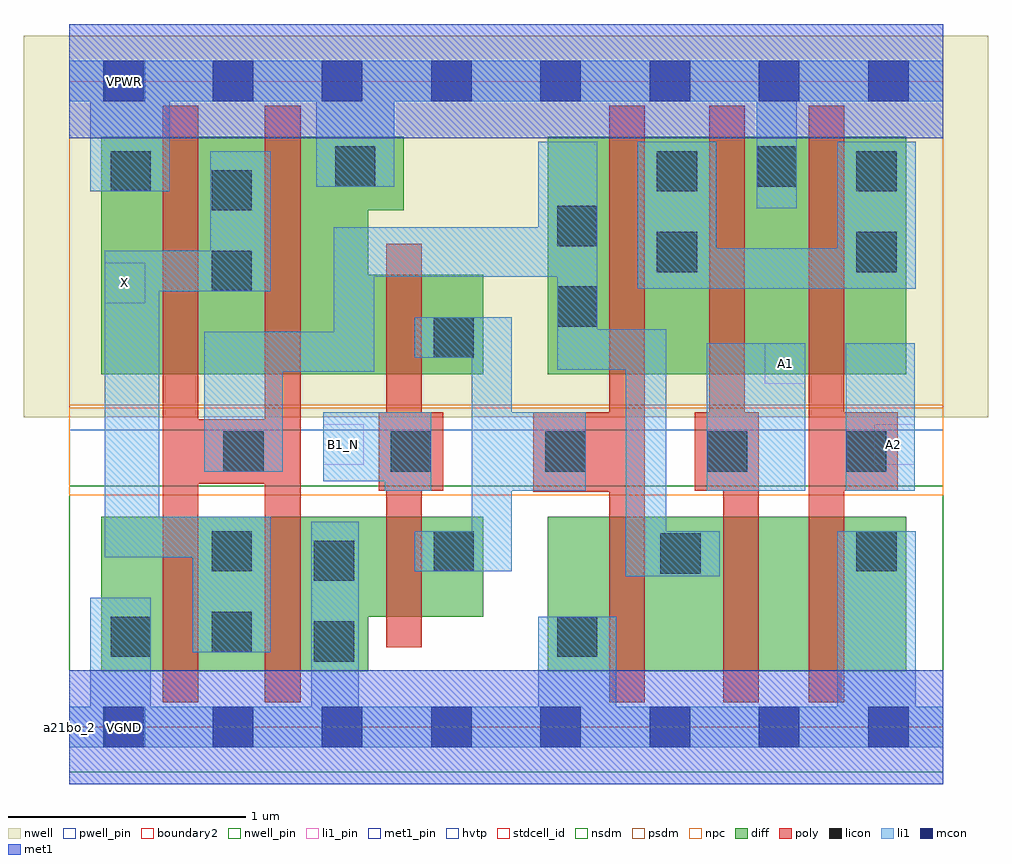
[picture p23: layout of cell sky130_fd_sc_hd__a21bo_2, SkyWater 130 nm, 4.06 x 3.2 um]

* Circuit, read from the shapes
.subckt sky130_fd_sc_hd__a21bo_2 A1 A2 B1_N VGND VNB VPB VPWR X
XM1 X n1 VGND VNB sky130_fd_pr__nfet_01v8 w=0.65 l=0.15 m=2
XM2 n2 B1_N VGND VNB sky130_fd_pr__nfet_01v8 w=0.42 l=0.15
XM3 n1 n2 VGND VNB sky130_fd_pr__nfet_01v8 w=0.65 l=0.15
XM4 n3 A1 n1 VNB sky130_fd_pr__nfet_01v8 w=0.65 l=0.15
XM5 VGND A2 n3 VNB sky130_fd_pr__nfet_01v8 w=0.65 l=0.15
XM6 X n1 VPWR VPB sky130_fd_pr__pfet_01v8_hvt w=1 l=0.15 m=2
XM7 n2 B1_N VPWR VPB sky130_fd_pr__pfet_01v8_hvt w=0.42 l=0.15
XM8 n4 n2 n1 VPB sky130_fd_pr__pfet_01v8_hvt w=1 l=0.15
XM9 VPWR A1 n4 VPB sky130_fd_pr__pfet_01v8_hvt w=1 l=0.15
XM10 n4 A2 VPWR VPB sky130_fd_pr__pfet_01v8_hvt w=1 l=0.15
.ends

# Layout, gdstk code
import gdstk
lib = gdstk.Library(unit=1e-6, precision=1e-09)
def R(c, l, rs):  # rectangles x0, y0, x1, y1
    for r in rs: c.add(gdstk.rectangle(r[:2], r[2:], *l))
def A(c, l, x, y, w, h, nx, ny, dx, dy):  # array of equal rectangles
    R(c, l, [(x+i*dx, y+j*dy, x+i*dx+w, y+j*dy+h) for i in range(nx) for j in range(ny)])
def P(c, l, *ps):  # polygons
    for p in ps: c.add(gdstk.Polygon(p, *l))
nwell_pin = (64, 16)
nwell = (64, 20)
diff = (65, 20)
poly = (66, 20)
licon = (66, 44)
li1_pin = (67, 16)
li1 = (67, 20)
mcon = (67, 44)
met1_pin = (68, 16)
met1 = (68, 20)
hvtp = (78, 44)
stdcell_id = (81, 4)
nsdm = (93, 44)
psdm = (94, 20)
npc = (95, 20)
pwell_pin = (122, 16)
boundary2 = (236, 0)

sky130_fd_sc_hd__a21bo_2 = lib.new_cell('sky130_fd_sc_hd__a21bo_2')
R(sky130_fd_sc_hd__a21bo_2, nwell_pin, [(0.15,2.635,0.32,2.805)])
R(sky130_fd_sc_hd__a21bo_2, nwell, [(-0.19,1.305,3.87,2.91)])
R(sky130_fd_sc_hd__a21bo_2, diff, [(2.015,0.235,3.525,0.885), (2.015,1.485,3.525,2.485)])
P(sky130_fd_sc_hd__a21bo_2, diff, [(1.745,0.885),(0.135,0.885),(0.135,0.235),(1.26,0.235),(1.26,0.465),(1.745,0.465)],
  [(1.745,1.905),(1.26,1.905),(1.26,2.175),(1.41,2.175),(1.41,2.485),(0.135,2.485),(0.135,1.485),(1.745,1.485)])
P(sky130_fd_sc_hd__a21bo_2, poly, [(0.975,2.615),(0.825,2.615),(0.825,1.295),(0.545,1.295),(0.545,2.615),(0.395,2.615),(0.395,0.105),(0.545,0.105),(0.545,1.025),(0.825,1.025),(0.825,0.105),(0.975,0.105)],
  [(3.49,1.325),(3.265,1.325),(3.265,2.615),(3.115,2.615),(3.115,0.105),(3.265,0.105),(3.265,0.995),(3.49,0.995)],
  [(2.905,1.325),(2.845,1.325),(2.845,2.615),(2.695,2.615),(2.695,1.325),(2.635,1.325),(2.635,0.995),(2.755,0.995),(2.755,0.105),(2.905,0.105)],
  [(1.575,1.325),(1.485,1.325),(1.485,2.035),(1.335,2.035),(1.335,1.325),(1.305,1.325),(1.305,0.995),(1.335,0.995),(1.335,0.335),(1.485,0.335),(1.485,0.995),(1.575,0.995)],
  [(2.425,2.615),(2.275,2.615),(2.275,1.325),(1.955,1.325),(1.955,0.99),(2.275,0.99),(2.275,0.105),(2.425,0.105)])
R(sky130_fd_sc_hd__a21bo_2, licon, [(1.03,0.275,1.2,0.445), (0.175,0.295,0.345,0.465), (2.055,0.295,2.225,0.465), (0.6,0.315,0.77,0.485), (1.03,0.615,1.2,0.785), (2.49,0.645,2.66,0.815), (0.6,0.655,0.77,0.825), (1.535,0.655,1.705,0.825), (3.315,0.655,3.485,0.825), (0.65,1.075,0.82,1.245), (1.355,1.075,1.525,1.245), (2.005,1.075,2.175,1.245), (2.685,1.075,2.855,1.245), (3.27,1.075,3.44,1.245), (1.535,1.555,1.705,1.725), (2.055,1.685,2.225,1.855), (0.6,1.835,0.77,2.005), (2.475,1.915,2.645,2.085), (3.315,1.915,3.485,2.085), (2.055,2.025,2.225,2.195), (0.6,2.175,0.77,2.345), (0.175,2.255,0.345,2.425), (2.475,2.255,2.645,2.425), (3.315,2.255,3.485,2.425), (1.12,2.275,1.29,2.445), (2.895,2.275,3.065,2.445)])
R(sky130_fd_sc_hd__a21bo_2, li1_pin, [(1.07,1.105,1.24,1.275), (3.39,1.105,3.56,1.275), (2.93,1.445,3.1,1.615), (0.15,1.785,0.32,1.955)])
R(sky130_fd_sc_hd__a21bo_2, li1, [(2.685,0.995,3.1,1.615), (3.27,0.995,3.56,1.615)])
P(sky130_fd_sc_hd__a21bo_2, li1, [(2.74,0.825),(2.515,0.825),(2.515,1.675),(2.225,1.675),(2.225,2.465),(1.975,2.465),(1.975,2.105),(1.115,2.105),(1.115,1.665),(0.57,1.665),(0.57,1.075),(0.9,1.075),(0.9,1.495),(1.285,1.495),(1.285,1.895),(2.055,1.895),(2.055,1.505),(2.345,1.505),(2.345,0.635),(2.74,0.635)],
  [(3.68,0.085),(3.565,0.085),(3.565,0.825),(3.235,0.825),(3.235,0.085),(2.305,0.085),(2.305,0.465),(1.975,0.465),(1.975,0.085),(1.22,0.085),(1.22,0.865),(1.02,0.865),(1.02,0.085),(0.345,0.085),(0.345,0.545),(0.09,0.545),(0.09,0.085),(0,0.085),(0,-0.085),(3.68,-0.085)],
  [(2.175,1.325),(1.865,1.325),(1.865,1.725),(1.455,1.725),(1.455,1.555),(1.695,1.555),(1.695,0.825),(1.455,0.825),(1.455,0.655),(1.865,0.655),(1.865,0.995),(2.175,0.995)],
  [(1.525,1.325),(1.07,1.325),(1.07,1.035),(1.33,1.035),(1.33,0.995),(1.525,0.995)],
  [(0.85,0.885),(0.38,0.885),(0.38,1.835),(0.85,1.835),(0.85,2.425),(0.595,2.425),(0.595,2.005),(0.15,2.005),(0.15,0.715),(0.52,0.715),(0.52,0.315),(0.85,0.315)],
  [(3.565,2.465),(3.235,2.465),(3.235,2.015),(2.725,2.015),(2.725,2.465),(2.395,2.465),(2.395,1.845),(3.565,1.845)],
  [(3.68,2.805),(0,2.805),(0,2.635),(0.09,2.635),(0.09,2.255),(0.425,2.255),(0.425,2.635),(1.04,2.635),(1.04,2.275),(1.37,2.275),(1.37,2.635),(2.895,2.635),(2.895,2.185),(3.065,2.185),(3.065,2.635),(3.68,2.635)])
A(sky130_fd_sc_hd__a21bo_2, mcon, 0.145, -0.085, 0.17, 0.17, 8, 2, 0.46, 2.72)
R(sky130_fd_sc_hd__a21bo_2, met1_pin, [(0.15,-0.085,0.32,0.085), (0.15,2.635,0.32,2.805)])
R(sky130_fd_sc_hd__a21bo_2, hvtp, [(0,1.25,3.68,2.72)])
R(sky130_fd_sc_hd__a21bo_2, stdcell_id, [(0,0,3.68,2.72)])
R(sky130_fd_sc_hd__a21bo_2, nsdm, [(0,-0.19,3.68,1.015)])
R(sky130_fd_sc_hd__a21bo_2, psdm, [(0,1.355,3.68,2.91)])
R(sky130_fd_sc_hd__a21bo_2, npc, [(0,0.975,3.68,1.345)])
R(sky130_fd_sc_hd__a21bo_2, pwell_pin, [(0.15,-0.085,0.32,0.085)])
R(sky130_fd_sc_hd__a21bo_2, boundary2, [(0,0,3.68,2.72)])
sky130_fd_sc_hd__a21bo_2.add(gdstk.FlexPath([(0,0),(3.68,0)], 0.48, ends="flush", simple_path=True, layer=68, datatype=20))  # met1
sky130_fd_sc_hd__a21bo_2.add(gdstk.FlexPath([(0,2.72),(3.68,2.72)], 0.48, ends="flush", simple_path=True, layer=68, datatype=20))  # met1
sky130_fd_sc_hd__a21bo_2.add(gdstk.Label('a21bo_2', (0,0), layer=83, texttype=44))
sky130_fd_sc_hd__a21bo_2.add(gdstk.Label('VPWR', (0.235,2.72), layer=68, texttype=5))
sky130_fd_sc_hd__a21bo_2.add(gdstk.Label('VGND', (0.235,0), layer=68, texttype=5))
sky130_fd_sc_hd__a21bo_2.add(gdstk.Label('VPB', (0.235,2.72), layer=64, texttype=5))
sky130_fd_sc_hd__a21bo_2.add(gdstk.Label('VNB', (0.235,0), layer=64, texttype=59))
sky130_fd_sc_hd__a21bo_2.add(gdstk.Label('A1', (3.015,1.53), layer=67, texttype=5))
sky130_fd_sc_hd__a21bo_2.add(gdstk.Label('X', (0.235,1.87), layer=67, texttype=5))
sky130_fd_sc_hd__a21bo_2.add(gdstk.Label('A2', (3.47,1.19), layer=67, texttype=5))
sky130_fd_sc_hd__a21bo_2.add(gdstk.Label('B1_N', (1.155,1.19), layer=67, texttype=5))

lib.write_gds('sky130_fd_sc_hd__a21bo_2.gds')
